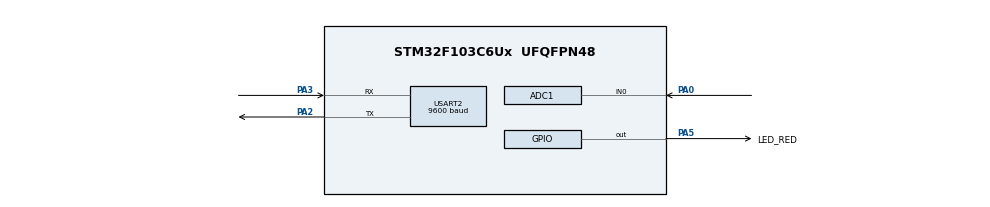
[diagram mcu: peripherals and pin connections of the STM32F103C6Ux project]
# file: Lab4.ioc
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ADC1.Channel-0\#ChannelRegularConversion=ADC_CHANNEL_0
ADC1.ContinuousConvMode=ENABLE
ADC1.NbrOfConversionFlag=1
ADC1.Rank-0\#ChannelRegularConversion=1
ADC1.SamplingTime-0\#ChannelRegularConversion=ADC_SAMPLETIME_1CYCLE_5
ADC1.master=1
Mcu.Family=STM32F1
Mcu.Name=STM32F103C6Ux
Mcu.Package=UFQFPN48
NVIC.PriorityGroup=NVIC_PRIORITYGROUP_4
NVIC.TIM2_IRQn=true\:0\:0\:false\:false\:true\:true\:true\:true
NVIC.USART2_IRQn=true\:0\:0\:false\:false\:true\:true\:true\:true
PA0-WKUP.Signal=ADCx_IN0
PA2.Mode=Asynchronous
PA2.Signal=USART2_TX
PA3.Mode=Asynchronous
PA3.Signal=USART2_RX
PA5.GPIO_Label=LED_RED
PA5.Signal=GPIO_Output
ProjectManager.HeapSize=0x200
ProjectManager.StackSize=0x400
ProjectManager.TargetToolchain=STM32CubeIDE
RCC.APB1Freq_Value=8000000
RCC.APB2Freq_Value=8000000
SH.ADCx_IN0.0=ADC1_IN0,IN0
TIM2.Period=10
TIM2.Prescaler=7999
USART2.BaudRate=9600
USART2.VirtualMode=VM_ASYNC
VP_TIM2_VS_ClockSourceINT.Mode=Internal
board=custom

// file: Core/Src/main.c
/* USER CODE BEGIN Header */
/**
  ******************************************************************************
  * @file           : main.c
  * @brief          : Main program body
  ******************************************************************************
  * @attention
  *
  * Copyright (c) 2023 STMicroelectronics.
  * All rights reserved.
  *
  * This software is licensed under terms that can be found in the LICENSE file
  * in the root directory of this software component.
  * If no LICENSE file comes with this software, it is provided AS-IS.
  *
  ******************************************************************************
  */
/* USER CODE END Header */
#include "main.h"

/* USER CODE BEGIN Includes */
#include "fsm.h"
#include "software_timer.h"
/* USER CODE END Includes */

ADC_HandleTypeDef hadc1;

TIM_HandleTypeDef htim2;

UART_HandleTypeDef huart2;

void SystemClock_Config(void);
static void MX_GPIO_Init(void);
static void MX_ADC1_Init(void);
static void MX_USART2_UART_Init(void);
static void MX_TIM2_Init(void);

int main(void)
{

  /* MCU Configuration--------------------------------------------------------*/

  /* Reset of all peripherals, Initializes the Flash interface and the Systick. */
  HAL_Init();

  /* Configure the system clock */
  SystemClock_Config();

  /* Initialize all configured peripherals */
  MX_GPIO_Init();
  MX_ADC1_Init();
  MX_USART2_UART_Init();
  MX_TIM2_Init();
  /* USER CODE BEGIN 2 */
  HAL_TIM_Base_Start_IT(&htim2);
  uint8_t pData[] = "STM32 Hello users\r\n";
  HAL_Delay(1000);
  HAL_UART_Transmit(&huart2, pData, sizeof(pData), 1000);
  HAL_UART_Receive_IT(&huart2, &temp, 1);
  setTimer1(100);
  /* USER CODE END 2 */

  /* Infinite loop */
  while (1)
  {

    /* USER CODE BEGIN 3 */
	  if (buffer_flag == 1) {
		  command_parser();
		  buffer_flag = 0;
	  }
	  uart_communiation_fsm();
	  if (timer1_flag == 1) {
		  setTimer1(100);
		  HAL_GPIO_TogglePin(LED_RED_GPIO_Port, LED_RED_Pin);
	  }
  }
  /* USER CODE END 3 */
}

void SystemClock_Config(void)
{
  RCC_OscInitTypeDef RCC_OscInitStruct = {0};
  RCC_ClkInitTypeDef RCC_ClkInitStruct = {0};
  RCC_PeriphCLKInitTypeDef PeriphClkInit = {0};

  /** Initializes the RCC Oscillators according to the specified parameters
  * in the RCC_OscInitTypeDef structure.
  */
  RCC_OscInitStruct.OscillatorType = RCC_OSCILLATORTYPE_HSI;
  RCC_OscInitStruct.HSIState = RCC_HSI_ON;
  RCC_OscInitStruct.HSICalibrationValue = RCC_HSICALIBRATION_DEFAULT;
  RCC_OscInitStruct.PLL.PLLState = RCC_PLL_NONE;
  if (HAL_RCC_OscConfig(&RCC_OscInitStruct) != HAL_OK)
  {
    Error_Handler();
  }

  /** Initializes the CPU, AHB and APB buses clocks
  */
  RCC_ClkInitStruct.ClockType = RCC_CLOCKTYPE_HCLK|RCC_CLOCKTYPE_SYSCLK
                              |RCC_CLOCKTYPE_PCLK1|RCC_CLOCKTYPE_PCLK2;
  RCC_ClkInitStruct.SYSCLKSource = RCC_SYSCLKSOURCE_HSI;
  RCC_ClkInitStruct.AHBCLKDivider = RCC_SYSCLK_DIV1;
  RCC_ClkInitStruct.APB1CLKDivider = RCC_HCLK_DIV1;
  RCC_ClkInitStruct.APB2CLKDivider = RCC_HCLK_DIV1;

  if (HAL_RCC_ClockConfig(&RCC_ClkInitStruct, FLASH_LATENCY_0) != HAL_OK)
  {
    Error_Handler();
  }
  PeriphClkInit.PeriphClockSelection = RCC_PERIPHCLK_ADC;
  PeriphClkInit.AdcClockSelection = RCC_ADCPCLK2_DIV2;
  if (HAL_RCCEx_PeriphCLKConfig(&PeriphClkInit) != HAL_OK)
  {
    Error_Handler();
  }
}

static void MX_ADC1_Init(void)
{

  ADC_ChannelConfTypeDef sConfig = {0};

  /** Common config
  */
  hadc1.Instance = ADC1;
  hadc1.Init.ScanConvMode = ADC_SCAN_DISABLE;
  hadc1.Init.ContinuousConvMode = ENABLE;
  hadc1.Init.DiscontinuousConvMode = DISABLE;
  hadc1.Init.ExternalTrigConv = ADC_SOFTWARE_START;
  hadc1.Init.DataAlign = ADC_DATAALIGN_RIGHT;
  hadc1.Init.NbrOfConversion = 1;
  if (HAL_ADC_Init(&hadc1) != HAL_OK)
  {
    Error_Handler();
  }

  /** Configure Regular Channel
  */
  sConfig.Channel = ADC_CHANNEL_0;
  sConfig.Rank = ADC_REGULAR_RANK_1;
  sConfig.SamplingTime = ADC_SAMPLETIME_1CYCLE_5;
  if (HAL_ADC_ConfigChannel(&hadc1, &sConfig) != HAL_OK)
  {
    Error_Handler();
  }

}

static void MX_TIM2_Init(void)
{

  TIM_ClockConfigTypeDef sClockSourceConfig = {0};
  TIM_MasterConfigTypeDef sMasterConfig = {0};

  htim2.Instance = TIM2;
  htim2.Init.Prescaler = 7999;
  htim2.Init.CounterMode = TIM_COUNTERMODE_UP;
  htim2.Init.Period = 10;
  htim2.Init.ClockDivision = TIM_CLOCKDIVISION_DIV1;
  htim2.Init.AutoReloadPreload = TIM_AUTORELOAD_PRELOAD_DISABLE;
  if (HAL_TIM_Base_Init(&htim2) != HAL_OK)
  {
    Error_Handler();
  }
  sClockSourceConfig.ClockSource = TIM_CLOCKSOURCE_INTERNAL;
  if (HAL_TIM_ConfigClockSource(&htim2, &sClockSourceConfig) != HAL_OK)
  {
    Error_Handler();
  }
  sMasterConfig.MasterOutputTrigger = TIM_TRGO_RESET;
  sMasterConfig.MasterSlaveMode = TIM_MASTERSLAVEMODE_DISABLE;
  if (HAL_TIMEx_MasterConfigSynchronization(&htim2, &sMasterConfig) != HAL_OK)
  {
    Error_Handler();
  }

}

static void MX_USART2_UART_Init(void)
{

  huart2.Instance = USART2;
  huart2.Init.BaudRate = 9600;
  huart2.Init.WordLength = UART_WORDLENGTH_8B;
  huart2.Init.StopBits = UART_STOPBITS_1;
  huart2.Init.Parity = UART_PARITY_NONE;
  huart2.Init.Mode = UART_MODE_TX_RX;
  huart2.Init.HwFlowCtl = UART_HWCONTROL_NONE;
  huart2.Init.OverSampling = UART_OVERSAMPLING_16;
  if (HAL_UART_Init(&huart2) != HAL_OK)
  {
    Error_Handler();
  }

}

static void MX_GPIO_Init(void)
{
  GPIO_InitTypeDef GPIO_InitStruct = {0};

  /* GPIO Ports Clock Enable */
  __HAL_RCC_GPIOA_CLK_ENABLE();

  /*Configure GPIO pin Output Level */
  HAL_GPIO_WritePin(LED_RED_GPIO_Port, LED_RED_Pin, GPIO_PIN_RESET);

  /*Configure GPIO pin : LED_RED_Pin */
  GPIO_InitStruct.Pin = LED_RED_Pin;
  GPIO_InitStruct.Mode = GPIO_MODE_OUTPUT_PP;
  GPIO_InitStruct.Pull = GPIO_NOPULL;
  GPIO_InitStruct.Speed = GPIO_SPEED_FREQ_LOW;
  HAL_GPIO_Init(LED_RED_GPIO_Port, &GPIO_InitStruct);

}

/* USER CODE BEGIN 4 */
void HAL_UART_RxCpltCallback(UART_HandleTypeDef *huart) {
	if (huart->Instance == USART2) {
		buffer[index_buffer] = temp;
		index_buffer = (index_buffer + 1) % MAX_BUFFER_SIZE;
		buffer_flag = 1;
		HAL_UART_Transmit(&huart2, &temp, 1, 1000);
		HAL_UART_Receive_IT(&huart2, &temp, 1);
	}
}
void HAL_TIM_PeriodElapsedCallback(TIM_HandleTypeDef *htim) {
	timerRun0();
	timerRun1();
}
/* USER CODE END 4 */

void Error_Handler(void)
{
  __disable_irq();
  while (1)
  {
  }
}
